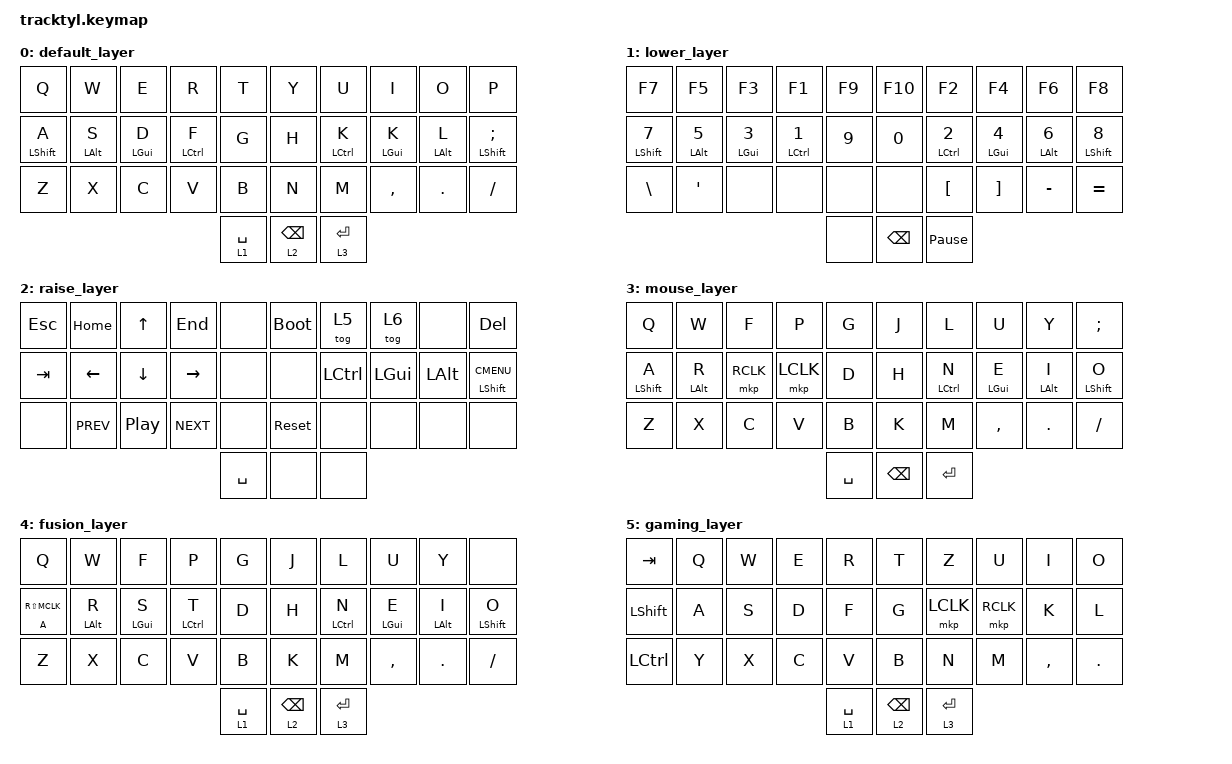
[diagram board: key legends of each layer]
#include <behaviors.dtsi>
#include <dt-bindings/zmk/keys.h>
#include <dt-bindings/zmk/bt.h>
#include <dt-bindings/zmk/outputs.h>
#include <dt-bindings/zmk/mouse.h>
#include <zephyr/dt-bindings/input/input-event-codes.h>

/ {
  behaviors {
    bhm: balanced_homerow_mods {
      compatible = "zmk,behavior-hold-tap";
      #binding-cells = <2>;
      tapping-term-ms = <200>;
      quick-tap-ms = <0>;
      flavor = "balanced";
      bindings = <&kp>, <&kp>;
    }; 

    mlt: mouse_layer_tap {
      compatible = "zmk,behavior-hold-tap";
      #binding-cells = <2>;
      tapping-term-ms = <200>;
      quick-tap-ms = <0>;
      flavor = "balanced";
      bindings = <&mo>, <&mkp>;
    };

    bmm: balanced_mouserow_mods {
      compatible = "zmk,behavior-hold-tap";
      #binding-cells = <2>;
      tapping-term-ms = <200>;
      quick-tap-ms = <0>;
      flavor = "balanced";
      bindings = <&kp>, <&mkp>;
    };
  };

  combos {
    compatible = "zmk,combos";
    combo_esc {
      timeout-ms = <50>;
      key-positions = <0 1>;
      bindings = <&kp ESC>;
    };
    
    combo_middleclick {
      timeout-ms = <50>;
      key-positions = <12 13>;
      bindings = <&mlt 2 MCLK>;
    };

    combo_middlepress {
      timeout-ms = <50>;
      key-positions = <16 17>;
      bindings = <&mkp MCLK>;
    };

    combo_bootload {
      timeout-ms = <50>;
      key-positions = <0 30>;
      bindings = <&bootloader>;
    };

    combo_sysreset {
      timeout-ms = <50>;
      key-positions = <0 24>;
      bindings = <&sys_reset>;
    };
  };

  trackball_listener {
          compatible = "zmk,input-listener";
          device = <&trackball>;
          input-processors = <&zip_xy_scaler 1 5>,<&zip_temp_layer 3 250>;
          scroll{
              layers = <2>;
              input-processors = <&zip_xy_scaler 1 100>, <&zip_xy_to_scroll_mapper>, <&zip_scroll_transform (INPUT_TRANSFORM_Y_INVERT)>;
          };
  };

  keymap {
    compatible = "zmk,keymap";

    default_layer {
      bindings = <
        &kp Q           &kp W         &kp E         &kp R         &kp T         &kp	Y       &kp U          &kp I         &kp O         &kp P
        &bhm LSHIFT A   &bhm LALT S   &bhm LGUI D   &bhm LCTRL F  &kp G         &kp H       &bhm LCTRL K    &bhm LGUI K   &bhm LALT L   &bhm LSHIFT SEMI
        &kp Z           &kp X         &kp C         &kp V         &kp B         &kp N       &kp M           &kp CMMA      &kp DOT       &kp FSLH
                                                                  &lt 1 SPACE   &lt 2 BSPC  &lt 3 ENTER
      >;
    };

    lower_layer {
      bindings = <
        &kp F7          &kp F5        &kp F3        &kp F1        &kp F9        &kp F10     &kp F2          &kp  F4       &kp F6        &kp F8
        &bhm LSHIFT N7  &bhm LALT N5  &bhm LGUI N3  &bhm LCTRL N1 &kp N9        &kp N0      &bhm LCTRL N2   &bhm LGUI N4  &bhm LALT N6  &bhm LSHIFT N8
        &kp BSLH        &kp SQT       &none         &none         &none         &none       &kp LBKT        &kp RBKT      &kp MINUS     &kp EQUAL
                                                                  &none         &kp BSPC    &kp PAUSE_BREAK
      >;
    };

    raise_layer {
      bindings = <
        &kp ESC         &kp HOME      &kp UP        &kp END       &none         &bootloader	&tog 5          &tog 6        &none         &kp DEL
        &kp TAB         &kp LEFT      &kp DOWN      &kp RIGHT     &none         &none       &kp LCTRL       &kp LGUI      &kp LALT      &bhm LSHIFT K_CMENU
        &none           &kp C_PREV    &kp C_PP      &kp C_NEXT    &none         &sys_reset  &none           &none         &none         &none
                                                                  &kp SPACE     &none       &none
      >;
    };

    mouse_layer {
      bindings = <
        &kp Q           &kp W         &kp F         &kp P         &kp G         &kp	J       &kp L           &kp U         &kp Y       &kp SEMI
        &bhm LSHIFT A   &bhm LALT R   &mkp RCLK     &mkp LCLK     &kp D         &kp H       &bhm LCTRL N    &bhm LGUI E   &bhm LALT I &bhm LSHIFT O
        &kp Z           &kp X         &kp C         &kp V         &kp B         &kp K       &kp M           &kp CMMA      &kp DOT     &kp FSLH
                                                                  &kp SPACE     &kp BSPC    &kp ENTER
      >;
    };

    fusion_layer {
      bindings = <
        &kp Q           &kp W         &kp F         &kp P         &kp G         &kp J       &kp L           &kp U         &kp Y       &none
        &bmm A RS(MCLK) &bhm LALT R   &bhm LGUI S   &bhm LCTRL T  &kp D         &kp H       &bhm LCTRL N    &bhm LGUI E   &bhm LALT I &bhm LSHIFT O
        &kp Z           &kp X         &kp C         &kp V         &kp B         &kp K       &kp M           &kp CMMA      &kp DOT     &kp FSLH
                                                                  &lt 1 SPACE	  &lt 2 BSPC  &lt 3 ENTER
      >;
    };

    gaming_layer {
      bindings = <
        &kp TAB         &kp Q         &kp W         &kp E         &kp R         &kp	T       &kp Z           &kp U         &kp I       &kp O
        &kp LSHIFT     	&kp A         &kp S         &kp D         &kp F         &kp G       &mkp LCLK       &mkp RCLK     &kp K       &kp L
        &kp LCTRL       &kp Y         &kp X         &kp C         &kp V         &kp B       &kp N           &kp M         &kp CMMA    &kp DOT
                                                                  &lt 1 SPACE	  &lt 2 BSPC  &lt 3 ENTER
      >;
    };
  };
};
